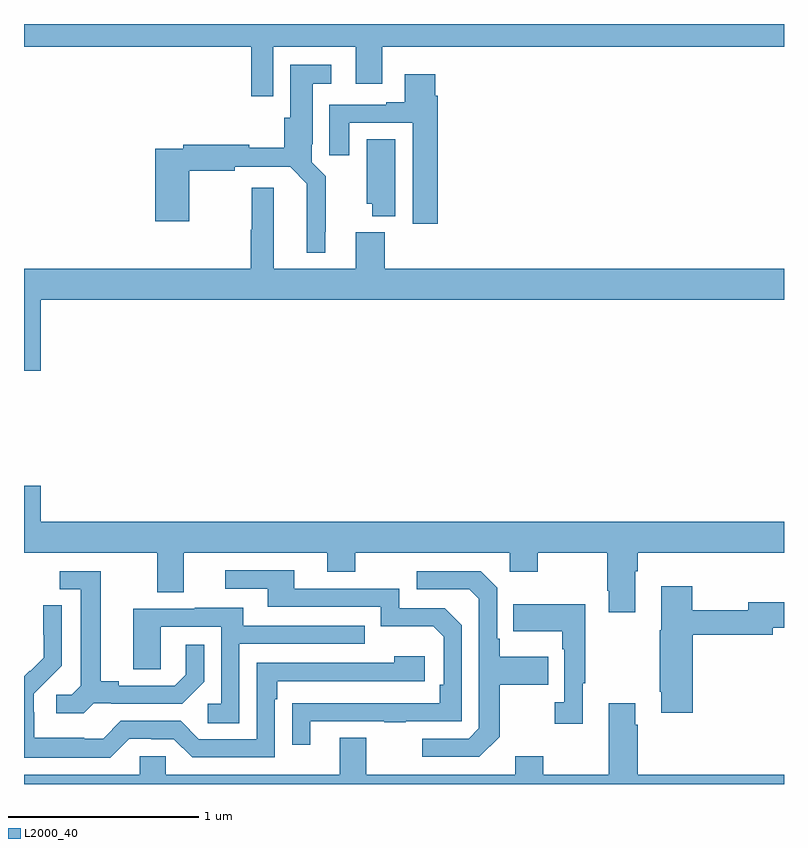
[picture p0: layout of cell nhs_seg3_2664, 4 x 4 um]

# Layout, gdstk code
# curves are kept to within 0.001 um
import gdstk
lib = gdstk.Library(unit=1e-6, precision=1e-09)
def P(c, l, *ps):  # polygons
    for p in ps: c.add(gdstk.Polygon(p, *l))
L2000_40 = (2000, 40)

nhs_seg3_2664 = lib.new_cell('nhs_seg3_2664')
P(nhs_seg3_2664, L2000_40, [(250.311,670.28),(250.745,670.28),(250.745,670.086),(250.885,670.086),(250.885,670.28),(253,670.28),(253,670.4),(249,670.4),(249,670.28),(250.195,670.28),(250.195,670.02),(250.311,670.02)],
  [(250.585,669.307),(250.589,669.307),(250.589,669.598),(250.515,669.672),(250.515,669.766),(250.519,669.766),(250.519,670.085),(250.618,670.085),(250.618,670.186),(250.4,670.186),(250.4,669.906),(250.37,669.906),(250.37,669.749),(250.186,669.749),(250.186,669.764),(249.838,669.764),(249.838,669.744),(249.692,669.744),(249.692,669.363),(249.87,669.363),(249.87,669.628),(250.109,669.628),(250.109,669.648),(250.4,669.648),(250.488,669.56),(250.487,669.197),(250.585,669.197)],
  [(251.177,670.022),(251.164,670.022),(251.164,670.135),(251.003,670.135),(251.003,669.988),(250.907,669.988),(250.907,669.975),(250.607,669.975),(250.607,669.708),(250.711,669.708),(250.711,669.879),(251.045,669.879),(251.045,669.348),(251.177,669.348)],
  [(250.954,669.794),(250.805,669.794),(250.805,669.453),(250.832,669.453),(250.832,669.389),(250.954,669.389)],
  [(249.088,668.948),(253,668.948),(253,669.112),(250.898,669.112),(250.898,669.304),(250.745,669.304),(250.745,669.112),(250.315,669.112),(250.315,669.538),(250.198,669.538),(250.198,669.317),(250.193,669.317),(250.193,669.112),(249,669.112),(249,668.574),(249.088,668.574)],
  [(252.217,667.52),(252.23,667.52),(252.23,667.616),(253,667.616),(253,667.78),(249.088,667.78),(249.088,667.969),(249,667.969),(249,667.616),(249.701,667.616),(249.701,667.408),(249.841,667.408),(249.841,667.616),(250.595,667.616),(250.595,667.517),(250.743,667.517),(250.743,667.616),(251.556,667.616),(251.556,667.517),(251.703,667.517),(251.703,667.616),(252.07,667.616),(252.07,667.417),(252.077,667.417),(252.077,667.305),(252.217,667.305)],
  [(250.507,666.729),(250.897,666.729),(250.897,666.724),(251.009,666.724),(251.009,666.729),(251.304,666.729),(251.304,667.236),(251.214,667.326),(250.974,667.326),(250.974,667.428),(250.423,667.428),(250.423,667.524),(250.059,667.524),(250.059,667.428),(250.283,667.428),(250.283,667.332),(250.878,667.332),(250.878,667.229),(251.155,667.229),(251.208,667.176),(251.208,666.922),(251.188,666.922),(251.188,666.825),(250.411,666.824),(250.411,666.606),(250.507,666.606)],
  [(251.503,666.649),(251.503,666.922),(251.759,666.922),(251.759,667.069),(251.503,667.069),(251.503,667.165),(251.49,667.165),(251.49,667.434),(251.403,667.521),(251.067,667.521),(251.067,667.425),(251.343,667.425),(251.394,667.374),(251.394,666.693),(251.34,666.639),(251.097,666.639),(251.097,666.543),(251.397,666.543)],
  [(249.366,666.825),(249.46,666.825),(249.46,666.822),(249.832,666.822),(249.948,666.938),(249.948,667.132),(249.851,667.132),(249.851,666.975),(249.794,666.918),(249.499,666.918),(249.499,666.941),(249.403,666.941),(249.403,667.521),(249.189,667.521),(249.189,667.425),(249.299,667.425),(249.299,666.917),(249.252,666.87),(249.171,666.87),(249.171,666.773),(249.314,666.773)],
  [(252.521,667.186),(252.94,667.186),(252.94,667.223),(253,667.223),(253,667.357),(252.812,667.357),(252.812,667.315),(252.516,667.315),(252.516,667.441),(252.353,667.441),(252.353,667.209),(252.346,667.209),(252.346,666.886),(252.353,666.886),(252.353,666.774),(252.521,666.774)],
  [(251.941,666.929),(251.953,666.929),(251.953,667.345),(251.575,667.345),(251.575,667.205),(251.832,667.205),(251.832,667.109),(251.844,667.109),(251.844,666.83),(251.793,666.83),(251.793,666.717),(251.941,666.717)],
  [(249.555,666.639),(249.671,666.639),(249.671,666.636),(249.789,666.636),(249.885,666.54),(250.32,666.54),(250.32,666.845),(250.333,666.845),(250.333,666.942),(251.11,666.942),(251.11,667.072),(250.949,667.072),(250.949,667.038),(250.224,667.038),(250.224,666.636),(249.921,666.636),(249.825,666.732),(249.51,666.732),(249.417,666.639),(249.317,666.639),(249.317,666.643),(249.054,666.643),(249.054,666.777),(249.052,666.777),(249.052,666.874),(249.198,667.022),(249.198,667.34),(249.102,667.34),(249.102,667.186),(249.104,667.186),(249.104,667.064),(249.033,666.993),(249.03,666.996),(249,666.966),(249,666.539),(249.455,666.539)],
  [(250.134,667.137),(250.793,667.137),(250.793,667.233),(250.153,667.233),(250.153,667.327),(249.899,667.327),(249.899,667.323),(249.575,667.323),(249.575,667.003),(249.72,667.003),(249.72,667.227),(250.038,667.227),(250.038,666.822),(249.966,666.822),(249.966,666.721),(250.134,666.721)],
  [(253,666.448),(252.23,666.448),(252.23,666.713),(252.217,666.713),(252.217,666.826),(252.077,666.826),(252.077,666.448),(251.733,666.448),(251.733,666.547),(251.585,666.547),(251.585,666.448),(250.801,666.448),(250.801,666.643),(250.661,666.643),(250.661,666.448),(249.747,666.448),(249.747,666.546),(249.609,666.546),(249.609,666.448),(249,666.448),(249,666.4),(253,666.4)])

lib.write_gds('nhs_seg3_2664.gds')
